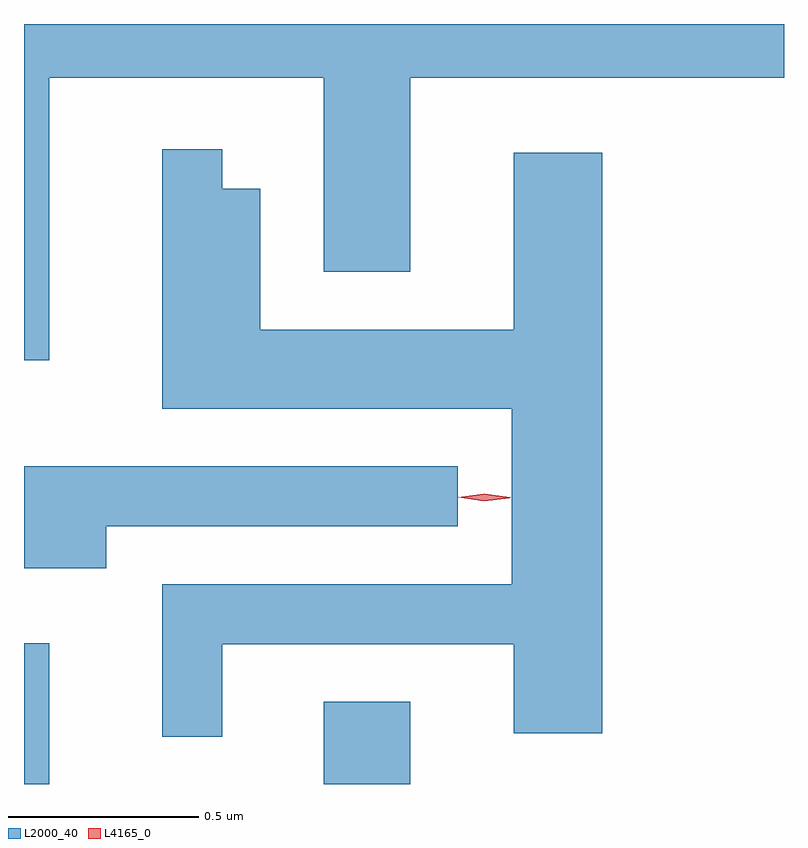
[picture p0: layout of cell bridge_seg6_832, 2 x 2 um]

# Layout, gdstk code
import gdstk
lib = gdstk.Library(unit=1e-6, precision=1e-09)
def R(c, l, rs):  # rectangles x0, y0, x1, y1
    for r in rs: c.add(gdstk.rectangle(r[:2], r[2:], *l))
def P(c, l, *ps):  # polygons
    for p in ps: c.add(gdstk.Polygon(p, *l))
L2000_40 = (2000, 40)
L4165_0 = (4165, 0)

bridge_seg6_832 = lib.new_cell('bridge_seg6_832')
R(bridge_seg6_832, L2000_40, [(524.032,1565.938,524.099,1566.308), (524.821,1565.938,525.049,1566.154)])
P(bridge_seg6_832, L2000_40, [(526.032,1567.938),(524.032,1567.938),(524.032,1567.053),(524.099,1567.053),(524.099,1567.796),(524.821,1567.796),(524.821,1567.286),(525.049,1567.286),(525.049,1567.796),(526.032,1567.796)],
  [(524.554,1566.306),(525.321,1566.306),(525.321,1566.071),(525.554,1566.071),(525.554,1567.599),(525.321,1567.599),(525.321,1567.134),(524.654,1567.134),(524.654,1567.504),(524.554,1567.504),(524.554,1567.608),(524.396,1567.608),(524.396,1566.926),(525.316,1566.926),(525.316,1566.464),(524.396,1566.464),(524.396,1566.063),(524.554,1566.063)],
  [(524.249,1566.616),(525.173,1566.616),(525.173,1566.774),(524.032,1566.774),(524.032,1566.506),(524.249,1566.506)])
P(bridge_seg6_832, L4165_0, [(525.243,1566.682),(525.178,1566.692),(525.177,1566.693),(525.178,1566.693),(525.244,1566.702),(525.309,1566.692),(525.31,1566.691),(525.309,1566.69)],
  [(525.243,1566.682),(525.174,1566.692),(525.173,1566.692),(525.174,1566.693),(525.243,1566.702),(525.312,1566.693),(525.313,1566.692),(525.312,1566.692)])

lib.write_gds('bridge_seg6_832.gds')
